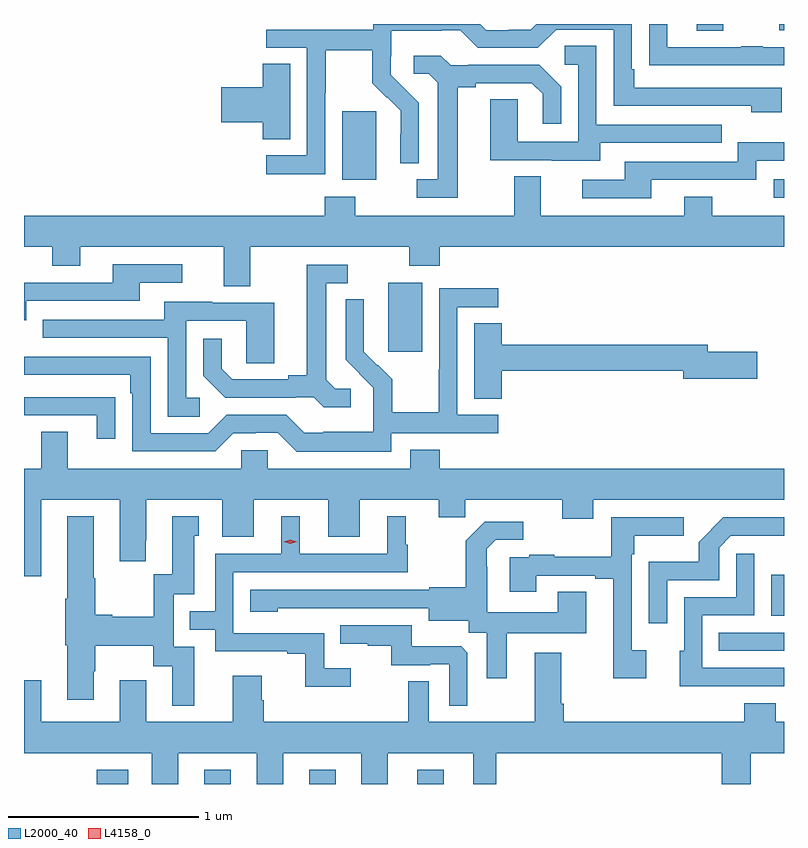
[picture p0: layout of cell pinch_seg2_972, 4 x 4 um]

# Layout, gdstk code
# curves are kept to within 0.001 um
import gdstk
lib = gdstk.Library(unit=1e-6, precision=1e-09)
def R(c, l, rs):  # rectangles x0, y0, x1, y1
    for r in rs: c.add(gdstk.rectangle(r[:2], r[2:], *l))
def P(c, l, *ps):  # polygons
    for p in ps: c.add(gdstk.Polygon(p, *l))
L2000_40 = (2000, 40)
L4158_0 = (4158, 0)

pinch_seg2_972 = lib.new_cell('pinch_seg2_972')
R(pinch_seg2_972, L2000_40, [(195.779,654.133,195.943,654.208), (196.343,654.133,196.483,654.208), (196.895,654.133,197.035,654.208), (197.465,654.133,197.605,654.208), (199.051,654.834,199.395,654.93), (199.328,655.019,199.395,655.234), (197.312,656.409,197.491,656.77), (199.341,657.219,199.395,657.315), (197.069,657.314,197.248,657.675), (198.935,658.098,199.075,658.133), (199.371,658.101,199.395,658.133)])
P(pinch_seg2_972, L2000_40, [(199.395,658.011),(199.283,658.011),(199.283,658.016),(199.171,658.016),(199.171,658.011),(198.781,658.011),(198.781,658.133),(198.685,658.133),(198.685,657.916),(198.787,657.916),(198.787,657.915),(199.395,657.915)],
  [(196.98,657.772),(196.983,657.772),(196.983,657.996),(197.227,657.996),(197.227,657.821),(197.304,657.744),(197.307,657.747),(197.378,657.677),(197.378,657.554),(197.376,657.554),(197.376,657.4),(197.472,657.4),(197.472,657.718),(197.326,657.866),(197.326,657.963),(197.328,657.963),(197.328,658.097),(197.591,658.097),(197.591,658.101),(197.691,658.101),(197.784,658.008),(198.099,658.008),(198.195,658.104),(198.498,658.104),(198.498,657.702),(199.223,657.702),(199.223,657.668),(199.384,657.668),(199.384,657.798),(198.607,657.798),(198.607,657.895),(198.594,657.895),(198.594,658.133),(198.092,658.133),(198.063,658.104),(197.945,658.104),(197.945,658.101),(197.829,658.101),(197.797,658.133),(197.232,658.133),(197.232,658.104),(196.671,658.104),(196.671,658.008),(196.884,658.008),(196.884,657.441),(196.671,657.441),(196.671,657.343),(196.98,657.343)],
  [(198.427,657.507),(199.067,657.507),(199.067,657.603),(198.408,657.603),(198.408,658.019),(198.24,658.019),(198.24,657.918),(198.312,657.918),(198.312,657.513),(197.994,657.513),(197.994,657.737),(197.849,657.737),(197.849,657.417),(198.173,657.417),(198.173,657.413),(198.427,657.413)],
  [(197.677,657.8),(197.773,657.8),(197.773,657.822),(198.068,657.822),(198.125,657.765),(198.125,657.609),(198.222,657.609),(198.222,657.802),(198.106,657.918),(197.734,657.918),(197.734,657.915),(197.64,657.915),(197.588,657.967),(197.445,657.967),(197.445,657.87),(197.526,657.87),(197.573,657.823),(197.573,657.315),(197.463,657.315),(197.463,657.219),(197.677,657.219)],
  [(196.795,657.923),(196.652,657.923),(196.652,657.8),(196.434,657.8),(196.434,657.617),(196.652,657.617),(196.652,657.526),(196.795,657.526)],
  [(198.697,657.312),(199.248,657.312),(199.248,657.414),(199.395,657.414),(199.395,657.511),(199.152,657.511),(199.152,657.408),(198.557,657.408),(198.557,657.312),(198.333,657.312),(198.333,657.216),(198.697,657.216)],
  [(196.585,656.96),(197.422,656.96),(197.422,656.861),(197.582,656.861),(197.582,656.96),(199.395,656.96),(199.395,657.124),(199.017,657.124),(199.017,657.223),(198.869,657.223),(198.869,657.124),(198.115,657.124),(198.115,657.332),(197.975,657.332),(197.975,657.124),(197.139,657.124),(197.139,657.223),(196.979,657.223),(196.979,657.124),(195.395,657.124),(195.395,656.96),(195.544,656.96),(195.544,656.861),(195.691,656.861),(195.691,656.96),(196.445,656.96),(196.445,656.752),(196.585,656.752)],
  [(195.408,656.676),(196.003,656.676),(196.003,656.772),(196.228,656.772),(196.228,656.868),(195.863,656.868),(195.863,656.772),(195.395,656.772),(195.395,656.573),(195.408,656.573)],
  [(197.116,656.214),(197.034,656.214),(196.987,656.261),(196.987,656.769),(197.098,656.769),(197.098,656.865),(196.883,656.865),(196.883,656.285),(196.787,656.285),(196.787,656.262),(196.492,656.262),(196.435,656.319),(196.435,656.476),(196.338,656.476),(196.338,656.282),(196.454,656.166),(196.826,656.166),(196.826,656.169),(196.92,656.169),(196.972,656.117),(197.116,656.117)],
  [(197.328,655.98),(197.89,655.98),(197.89,656.076),(197.676,656.076),(197.676,656.643),(197.89,656.643),(197.89,656.742),(197.58,656.742),(197.58,656.312),(197.578,656.312),(197.578,656.089),(197.333,656.089),(197.333,656.263),(197.256,656.34),(197.253,656.337),(197.183,656.408),(197.184,656.684),(197.088,656.684),(197.088,656.366),(197.234,656.218),(197.234,656.121),(197.232,656.121),(197.232,655.987),(196.969,655.987),(196.969,655.983),(196.869,655.983),(196.776,656.076),(196.461,656.076),(196.365,655.98),(196.062,655.98),(196.062,656.382),(195.395,656.382),(195.395,656.286),(195.953,656.286),(195.953,656.189),(195.966,656.189),(195.966,655.884),(196.401,655.884),(196.497,655.98),(196.616,655.98),(196.616,655.983),(196.731,655.983),(196.831,655.883),(197.328,655.883)],
  [(196.321,656.166),(196.248,656.166),(196.248,656.571),(196.566,656.571),(196.566,656.347),(196.711,656.347),(196.711,656.667),(196.387,656.667),(196.387,656.671),(196.133,656.671),(196.133,656.577),(195.493,656.577),(195.493,656.481),(196.152,656.481),(196.152,656.065),(196.321,656.065)],
  [(197.909,656.308),(198.866,656.308),(198.866,656.266),(199.255,656.266),(199.255,656.408),(198.994,656.408),(198.994,656.444),(197.909,656.444),(197.909,656.558),(197.765,656.558),(197.765,656.161),(197.909,656.161)],
  [(195.875,656.168),(195.773,656.168),(195.773,656.169),(195.395,656.169),(195.395,656.073),(195.779,656.073),(195.779,655.95),(195.875,655.95)],
  [(195.487,655.628),(195.899,655.628),(195.899,655.305),(196.036,655.305),(196.036,655.417),(196.039,655.417),(196.039,655.628),(196.439,655.628),(196.439,655.434),(196.603,655.434),(196.603,655.628),(196.997,655.628),(196.997,655.434),(197.161,655.434),(197.161,655.628),(197.579,655.628),(197.579,655.538),(197.717,655.538),(197.717,655.628),(198.227,655.628),(198.227,655.529),(198.391,655.529),(198.391,655.628),(199.395,655.628),(199.395,655.792),(197.582,655.792),(197.582,655.891),(197.429,655.891),(197.429,655.792),(196.677,655.792),(196.677,655.89),(196.539,655.89),(196.539,655.792),(195.625,655.792),(195.625,655.987),(195.485,655.987),(195.485,655.792),(195.395,655.792),(195.395,655.227),(195.487,655.227)],
  [(197.116,654.742),(196.974,654.742),(196.974,654.927),(196.497,654.927),(196.497,655.248),(197.416,655.248),(197.416,655.392),(197.404,655.392),(197.404,655.543),(197.306,655.543),(197.306,655.344),(196.846,655.344),(196.846,655.543),(196.748,655.543),(196.748,655.344),(196.401,655.344),(196.401,655.041),(196.267,655.041),(196.267,654.945),(196.401,654.945),(196.401,654.831),(196.781,654.831),(196.781,654.819),(196.876,654.819),(196.876,654.644),(197.116,654.644)],
  [(196.291,654.855),(196.182,654.855),(196.182,655.131),(196.291,655.131),(196.291,655.44),(196.315,655.44),(196.315,655.543),(196.175,655.543),(196.175,655.236),(196.079,655.236),(196.079,655.012),(195.859,655.012),(195.859,655.025),(195.771,655.025),(195.771,655.217),(195.763,655.217),(195.763,655.543),(195.623,655.543),(195.623,655.108),(195.611,655.108),(195.611,654.864),(195.623,654.864),(195.623,654.576),(195.763,654.576),(195.763,654.726),(195.771,654.726),(195.771,654.86),(196.074,654.86),(196.074,654.754),(196.175,654.754),(196.175,654.546),(196.291,654.546)],
  [(198.78,655.206),(199.053,655.206),(199.053,655.377),(199.116,655.44),(199.395,655.439),(199.395,655.536),(199.076,655.536),(198.946,655.406),(198.946,655.303),(198.684,655.303),(198.684,654.978),(198.78,654.978)],
  [(198.67,654.838),(198.594,654.838),(198.594,655.343),(198.607,655.343),(198.607,655.439),(198.868,655.439),(198.868,655.536),(198.486,655.536),(198.486,655.328),(198.187,655.328),(198.187,655.339),(198.055,655.339),(198.055,655.326),(197.951,655.326),(197.951,655.146),(198.091,655.146),(198.091,655.23),(198.401,655.23),(198.401,655.212),(198.497,655.212),(198.497,654.69),(198.67,654.69)],
  [(197.935,654.926),(198.355,654.926),(198.355,655.145),(198.203,655.145),(198.203,655.036),(197.832,655.036),(197.832,655.277),(197.83,655.277),(197.83,655.372),(197.877,655.419),(198.022,655.419),(198.022,655.513),(197.821,655.513),(197.721,655.413),(197.721,655.168),(197.529,655.168),(197.529,655.155),(196.587,655.155),(196.587,655.04),(196.731,655.04),(196.731,655.058),(197.525,655.059),(197.525,654.992),(197.736,654.992),(197.736,654.928),(197.831,654.928),(197.831,654.69),(197.935,654.69)],
  [(199.063,654.648),(199.395,654.648),(199.395,654.744),(198.966,654.744),(198.966,655.02),(199.239,655.02),(199.239,655.345),(199.143,655.345),(199.143,655.116),(198.87,655.116),(198.87,654.834),(198.845,654.834),(198.845,654.647),(199.063,654.647)],
  [(197.727,654.825),(197.695,654.857),(197.437,654.857),(197.437,654.969),(197.059,654.969),(197.059,654.872),(197.203,654.872),(197.203,654.861),(197.327,654.861),(197.327,654.759),(197.534,654.759),(197.534,654.762),(197.634,654.762),(197.634,654.545),(197.727,654.545)],
  [(196.207,654.296),(196.619,654.296),(196.619,654.133),(196.759,654.133),(196.759,654.296),(197.171,654.296),(197.171,654.133),(197.31,654.133),(197.31,654.296),(197.759,654.296),(197.759,654.133),(197.881,654.133),(197.881,654.296),(199.067,654.296),(199.067,654.133),(199.219,654.133),(199.219,654.296),(199.395,654.296),(199.395,654.46),(199.351,654.46),(199.351,654.559),(199.187,654.559),(199.187,654.46),(198.236,654.46),(198.236,654.556),(198.223,654.556),(198.223,654.823),(198.083,654.823),(198.083,654.46),(197.526,654.46),(197.526,654.674),(197.418,654.674),(197.418,654.46),(196.658,654.46),(196.658,654.573),(196.645,654.573),(196.645,654.703),(196.493,654.703),(196.493,654.46),(196.039,654.46),(196.039,654.679),(195.899,654.679),(195.899,654.46),(195.487,654.46),(195.487,654.679),(195.395,654.679),(195.395,654.296),(196.067,654.296),(196.067,654.133),(196.207,654.133)])
P(pinch_seg2_972, L4158_0, [(196.797,655.398),(196.761,655.407),(196.761,655.408),(196.761,655.408),(196.797,655.418),(196.833,655.408),(196.833,655.408),(196.833,655.407)])

lib.write_gds('pinch_seg2_972.gds')
